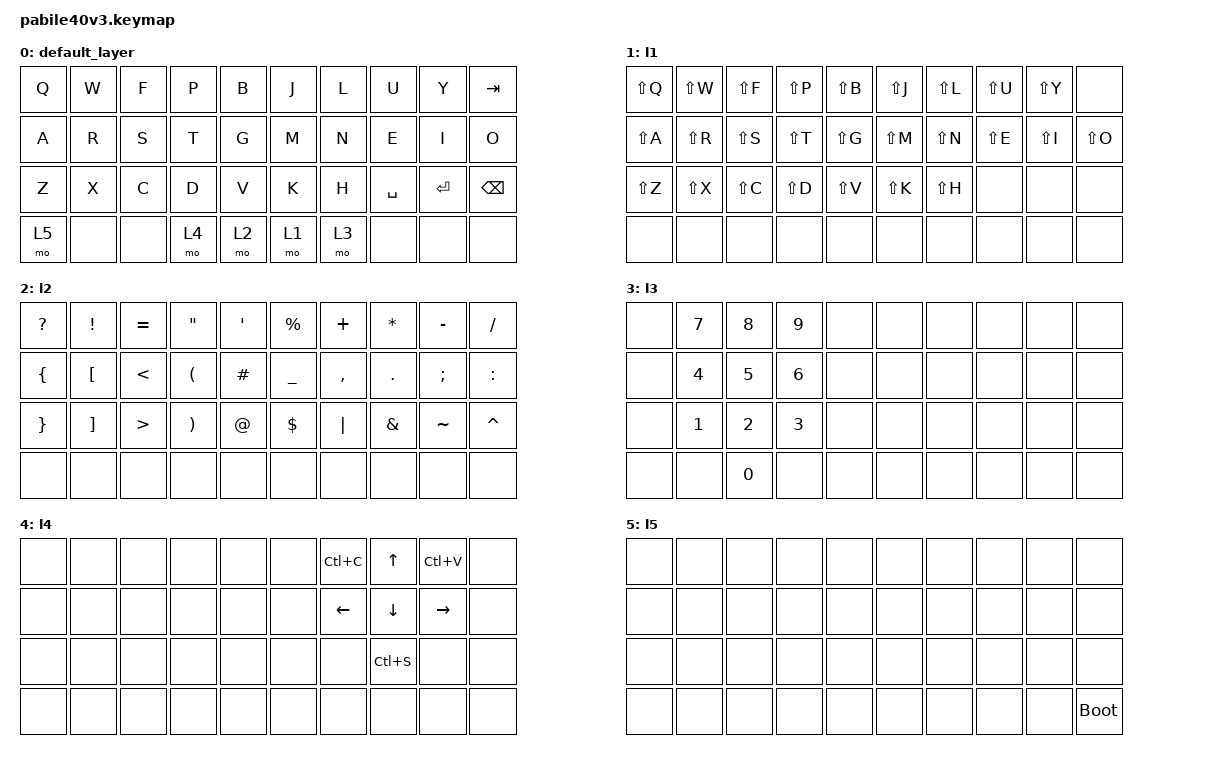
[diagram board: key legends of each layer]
#include <behaviors.dtsi>
#include <dt-bindings/zmk/keys.h>
#include <dt-bindings/zmk/bt.h>
#include <dt-bindings/zmk/outputs.h>
#include <dt-bindings/zmk/rgb.h>
#include <dt-bindings/zmk/ext_power.h>
#include <dt-bindings/zmk/pointing.h>

/ {
	keymap {
		compatible = "zmk,keymap";

default_layer {
    bindings = <
        &kp Q      &kp W      &kp F      &kp P      &kp B        &kp J      &kp L       &kp U       &kp Y       &kp TAB
        &kp A      &kp R      &kp S      &kp T      &kp G        &kp M      &kp N       &kp E       &kp I       &kp O
        &kp Z      &kp X      &kp C      &kp D      &kp V        &kp K      &kp H       &kp SPACE   &kp ENTER   &kp BSPC
        &mo 5  &none     &none      &mo 4      &mo 2        &mo 1      &mo 3       &none       &none       &none
    >;
};

l1 {
    bindings = <
    &kp LS(Q)  &kp LS(W)  &kp LS(F)  &kp LS(P)  &kp LS(B)   &kp LS(J)  &kp LS(L)  &kp LS(U)  &kp LS(Y)  &none
    &kp LS(A)  &kp LS(R)  &kp LS(S)  &kp LS(T)  &kp LS(G)   &kp LS(M)  &kp LS(N)  &kp LS(E)  &kp LS(I)  &kp LS(O)
    &kp LS(Z)  &kp LS(X)  &kp LS(C)  &kp LS(D)  &kp LS(V)   &kp LS(K)  &kp LS(H)  &none     &none     &none
    &none &none &none &none  &none &none &none &none &none &none
>;
};

        l2 {
			bindings = <
				&kp QMARK &kp EXCL &kp EQUAL &kp DQT &kp SQT &kp PRCNT &kp PLUS &kp STAR &kp MINUS &kp FSLH
				&kp LBRC  &kp LBKT   &kp LT  &kp LPAR &kp HASH &kp UNDER &kp COMMA &kp DOT &kp SEMI &kp COLON
				&kp RBRC &kp RBKT &kp GT &kp RPAR  &kp AT  &kp DLLR &kp PIPE &kp AMPS &kp TILDE &kp CARET
				&none &none &none &none &none &none &none &none &none &none
			>;
		};

l3 {
    bindings = <
        &none      &kp N7     &kp N8     &kp N9     &none        &none      &none       &none       &none       &none
        &none      &kp N4     &kp N5     &kp N6     &none        &none      &none       &none       &none       &none
        &none      &kp N1     &kp N2     &kp N3     &none        &none      &none       &none       &none       &none
        &none      &none      &kp N0     &none      &none        &none      &none       &none       &none       &none
    >;
};

l4 {
    bindings = <
        &none      &none     &none     &none     &none        &none      &kp LC(C)       &kp UP       &kp LC(V)       &none
        &none      &none     &none     &none     &none        &none      &kp LEFT       &kp DOWN       &kp RIGHT       &none
        &none      &none     &none     &none     &none        &none      &none       &kp LC(S)       &none       &none
        &none      &none      &none     &none      &none        &none      &none       &none       &none       &none
    >;
};

l5 {
    bindings = <
        &none      &none     &none     &none     &none        &none      &none       &none       &none       &none
        &none      &none     &none     &none     &none        &none      &none       &none       &none       &none
        &none      &none     &none     &none     &none        &none      &none       &none       &none       &none
        &none      &none      &none     &none      &none        &none      &none       &none       &none     &bootloader
    >;
};

	};
};
